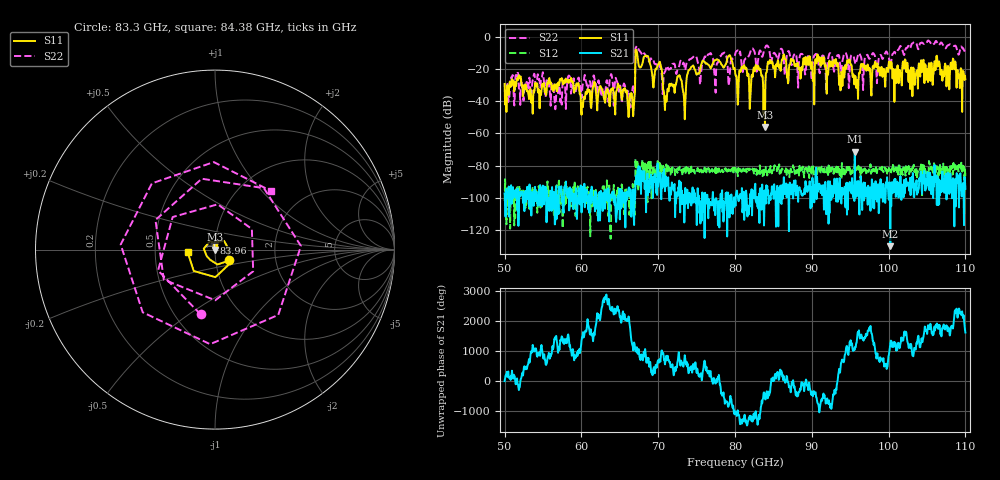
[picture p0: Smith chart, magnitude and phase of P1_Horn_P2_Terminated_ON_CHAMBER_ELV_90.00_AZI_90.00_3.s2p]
! 11/26/2026 10:51:38 AM
! C:\ANRITSUVNA\TEMP\TEMP.S2P
! CHANNEL.1
! TR.MEASUREMENT
! RAW.DATA
# HZ S RI R 50.0
! FREQ.HZ  S11RE  S11IM  S21RE  S21IM  S12RE  S12IM  S22RE  S22IM
!; PortSelection: Port_12
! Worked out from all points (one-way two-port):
!   1001 points, 50 GHz to 110 GHz, reference 50 ohm
!   highest |S21| = -71.38 dB at 95.6 GHz (marker M1); lowest = -130.0 dB at 100.2 GHz (marker M2)
!   lowest |S11| = -56.0 dB at 83.9 GHz (marker M3), VSWR 1.00, Z = 49.9 + j0.0541 ohm
!   |S11| at or under -10 dB: start of sweep to 67.04 GHz; 67.24 GHz to end of sweep
!   |S22| runs from -45.1 to -2.4 dB; largest |S21 - S12| = 0.00028
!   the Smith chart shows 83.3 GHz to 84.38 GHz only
!   S11 on the Smith chart (normalised r, x): 83.3 GHz: 1.17, -0.14; 83.96 GHz: 0.98, +0.08; 84.38 GHz: 0.73, -0.02
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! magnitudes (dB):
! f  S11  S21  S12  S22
! 50 GHz  -29.4  -97.3  -102.0  -33.7
! 58.46 GHz  -27.0  -106.2  -94.8  -24.6
! 60.02 GHz  -48.5  -109.1  -101.5  -38.2
! 66.44 GHz  -35.5  -97.7  -100.6  -39.5
! 67.34 GHz  -13.7  -82.5  -80.9  -6.6
! 70.04 GHz  -17.1  -89.3  -86.9  -15.9
! 71 GHz  -37.0  -86.7  -82.6  -20.2
! 73.4 GHz  -42.0  -115.3  -81.6  -18.0
! 75.92 GHz  -15.4  -104.4  -83.0  -14.2
! 80 GHz  -21.2  -100.3  -82.0  -11.3
! 83.3 GHz  -19.9  -94.0  -85.2  -8.7
! 83.9 GHz  -56.0  -95.3  -81.7  -7.2
! 83.96 GHz  -28.1  -97.0  -83.8  -6.4
! 84.38 GHz  -16.3  -103.6  -83.9  -6.9
! 90.02 GHz  -16.0  -105.3  -80.6  -26.8
! 94.88 GHz  -14.2  -95.5  -80.9  -27.9
! 95.6 GHz  -26.7  -71.4  -76.0  -15.3
! 100 GHz  -15.6  -101.2  -81.4  -13.3
! 100.2 GHz  -19.6  -130.0  -81.5  -18.8
! 103.3 GHz  -26.1  -99.6  -83.5  -3.3
! 106.3 GHz  -11.8  -104.5  -79.2  -3.3
! 110 GHz  -26.4  -94.4  -87.3  -11.0
